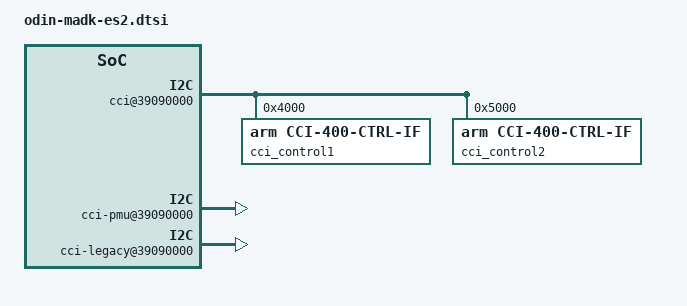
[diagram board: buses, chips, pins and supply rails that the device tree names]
/*
 * LG Electronics Odin SoC
 */

/* 4MB reserve for pstore */
/memreserve/ 0xdd400000 0x00400000;

/ {
	compatible = "lge,odin";
	interrupt-parent = <&gic>;
	#address-cells = <2>;
	#size-cells = <2>;

	clusters {
		#address-cells = <1>;
		#size-cells = <0>;

		cluster0: cluster@0 {
			reg = <0>;
			freqs = <800000 900000 1000000 1100000 1200000 1300000 1400000>;
			cores {
				#address-cells = <1>;
				#size-cells = <0>;

				core0: core@0 {
					reg = <0>;
				};

				core1: core@1 {
					reg = <1>;
				};

				core2: core@2 {
					reg = <2>;
				};

				core3: core@3 {
					reg = <3>;
				};

			};
		};

		cluster1: cluster@1 {
			reg = <1>;
			freqs = <600000 700000 800000 900000 1000000>;
			cores {
				#address-cells = <1>;
				#size-cells = <0>;

				core4: core@0 {
					reg = <0>;
				};

				core5: core@1 {
					reg = <1>;
				};

				core6: core@2 {
					reg = <2>;
				};

				core7: core@3 {
					reg = <3>;
				};
			};
		};
	};

	cpus {
		#address-cells = <1>;
		#size-cells = <0>;

		cpu0: cpu@0 {
			device_type = "cpu";
			compatible = "arm,cortex-a7";
			reg = <0x000100>;
			cluster = <&cluster1>;
			core = <&core4>;
			clock-frequency = <1000000000>;
			clock-latency = <1000000>;
			cci-control-port = <&cci_control2>;
		};
		cpu1: cpu@1 {
			device_type = "cpu";
			compatible = "arm,cortex-a7";
			reg = <0x000101>;
			cluster = <&cluster1>;
			core = <&core5>;
			clock-frequency = <1000000000>;
			clock-latency = <1000000>;
			cci-control-port = <&cci_control2>;
		};
		cpu2: cpu@2 {
			device_type = "cpu";
			compatible = "arm,cortex-a7";
			reg = <0x000102>;
			cluster = <&cluster1>;
			core = <&core6>;
			clock-frequency = <1000000000>;
			clock-latency = <1000000>;
			cci-control-port = <&cci_control2>;
		};
		cpu3: cpu@3 {
			device_type = "cpu";
			compatible = "arm,cortex-a7";
			reg = <0x000103>;
			cluster = <&cluster1>;
			core = <&core7>;
			clock-frequency = <1000000000>;
			clock-latency = <1000000>;
			cci-control-port = <&cci_control2>;
		};
		cpu4: cpu@4 {
			device_type = "cpu";
			compatible = "arm,cortex-a15";
			reg = <0>;
			cluster = <&cluster0>;
			core = <&core0>;
			clock-frequency = <1400000000>;
			clock-latency = <1000000>;
			cci-control-port = <&cci_control1>;
		};
		cpu5: cpu@5 {
			device_type = "cpu";
			compatible = "arm,cortex-a15";
			reg = <0x000001>;
			cluster = <&cluster0>;
			core = <&core1>;
			clock-frequency = <1400000000>;
			clock-latency = <1000000>;
			cci-control-port = <&cci_control1>;
		};
		cpu6: cpu@6 {
			device_type = "cpu";
			compatible = "arm,cortex-a15";
			reg = <0x000002>;
			cluster = <&cluster0>;
			core = <&core2>;
			clock-frequency = <1400000000>;
			clock-latency = <1000000>;
			cci-control-port = <&cci_control1>;
		};
		cpu7: cpu@7 {
			device_type = "cpu";
			compatible = "arm,cortex-a15";
			reg = <0x000003>;
			cluster = <&cluster0>;
			core = <&core3>;
			clock-frequency = <1400000000>;
			clock-latency = <1000000>;
			cci-control-port = <&cci_control1>;
		};
	};

	timer {
		compatible = "arm,armv7-timer";
		interrupts = <1 13 0xf08>,
			     <1 14 0xf08>;
		clock-frequency = <24000000>;
	};

	syscnt@0c200000 {
		compatible = "LG,odin-syscnt";
		reg = <0 0x0c200000 0 0x10>;
	};

	gic: interrupt-controller@39801000 {
		compatible = "arm,cortex-a15-gic";
		interrupt-controller;
		#interrupt-cells = <3>;
		#address-cells = <0>;
		reg = <0 0x39801000 0 0x1000>,
		      <0 0x39802000 0 0x1000>,
		      <0 0x39804000 0 0x2000>,
		      <0 0x39806000 0 0x2000>;
		interrupts = <1 9 0xf04>;
	};

	cci@39090000 {
		compatible = "arm,cci-400";
		#address-cells = <1>;
		#size-cells = <1>;
		reg = <0 0x39090000 0 0x1000>;
		ranges = <0x0 0x0 0x39090000 0x10000>;

		cci_control1: slave-if@4000 {
			compatible = "arm,cci-400-ctrl-if";
			interface-type = "ace";
			reg = <0x4000 0x1000>;
		};

		cci_control2: slave-if@5000 {
			compatible = "arm,cci-400-ctrl-if";
			interface-type = "ace";
			reg = <0x5000 0x1000>;
		};
	};

	memory-controller {
		compatible = "lge,odin-mc";
		reg = < 0 0x35000000 0 0x1000 >,
		      < 0 0x35010000 0 0x1000 >;
	    interrupts = < 0 104 4 >,
		             < 0 105 4 >;
	};

	cci-pmu@39090000 {
		compatible = "arm,cci-400-pmu";
		reg = <0 0x39099000 0 0x6000>;
		interrupts = <0 207 4>,
				<0 208 4>,
				<0 209 4>,
				<0 210 4>,
				<0 211 4>;
	};

	cci-legacy@39090000 {
		compatible = "arm,cci";
		reg = <0 0x39090000 0 0x10000>;
		interrupts = <0 207 4>,
				<0 208 4>,
				<0 209 4>,
				<0 210 4>,
				<0 211 4>;
	};

	cbr: cbr@2009ff00 {
		compatible = "lge,cbr";
		reg = <0x2009ff00 0x1000>;
	};

	pmu_a15 {
		compatible = "arm,cortex-a15-pmu";
		cluster  = <&cluster0>;
		interrupts = <0 216 4>,
			     <0 217 4>,
			     <0 218 4>,
			     <0 219 4>;
	};

	pmu_a7 {
		compatible = "arm,cortex-a7-pmu";
		cluster  = <&cluster1>;
		interrupts = <0 220 4>,
			     <0 221 4>,
			     <0 222 4>,
			     <0 223 4>;
	};

	odin_pstore {
		compatible = "lge,pstore";
		base = <0xdd400000>;
		size = <0x00400000>;
	};
};
